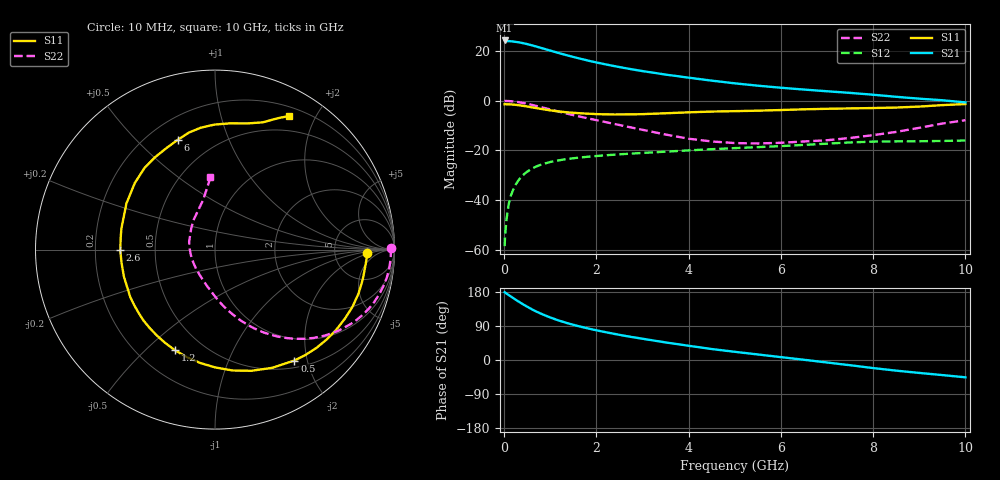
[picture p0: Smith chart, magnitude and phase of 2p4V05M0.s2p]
! (c) 2009  Infineon Technologies AG, Munich
! Infineon Technologies  Discrete & RF Semiconductors
! BFP420
! VCE =  4.0 V,  IC =  5.0 mA
! Common Emitter S-Parameters:  Nov 2009
# GHz  S  MA  R  50
!  f  S11  S21  S12  S22
! GHz  MAG  ANG  MAG  ANG  MAG  ANG  MAG  ANG
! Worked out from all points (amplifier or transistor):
!   46 points, 10 MHz to 10 GHz, reference 50 ohm
!   highest |S21| = 24.1 dB at 10 MHz (marker M1)
!   |S21| within 3 dB of that: start of sweep to 800.1 MHz
!   unconditionally stable (mu >= 1): start of sweep to 11.38 MHz; 3.028 GHz to end of sweep
!   at 300 MHz: K = 0.14, MSG = 27.8 dB, |S12| = -32.3 dB
!   at 1.7 GHz: K = 0.59, MSG = 19.7 dB, |S12| = -22.7 dB
!   at 10 GHz: K = 1.13, MAG = 5.5 dB, |S12| = -16.0 dB
!   lowest NFmin = 0.66 dB at 900 MHz
!   S11 on the Smith chart (normalised r, x): 10 MHz: 12, -1; 500 MHz: 0.61, -1.78; 1.2 GHz: 0.35, -0.62; 2.6 GHz: 0.31, -0.00; 6 GHz: 0.32, +0.67; 10 GHz: 0.31, +1.66
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0.01  0.8456 -1.2  16.07 179.0  0.0012 23.0  0.9779 0.4
0.02  0.848 -2.4  15.61 178.2  0.0019 59.3  0.9801 -1.2
0.1  0.8399 -11.3  15.6 171.4  0.0085 77.6  0.9766 -6.2
0.2  0.8297 -22.5  15.3 163.2  0.0166 75.3  0.9597 -12.4
0.3  0.8097 -33.6  14.84 155.2  0.0244 70.8  0.9336 -18.3
0.4  0.7868 -44.2  14.23 147.7  0.0313 66.3  0.8997 -23.8
0.5  0.7599 -54.4  13.55 140.6  0.0375 61.8  0.861 -28.9
0.6  0.7321 -64.1  12.84 133.9  0.043 57.7  0.8204 -33.6
0.8  0.6804 -81.8  11.37 122.2  0.0518 50.8  0.7383 -41.8
1  0.6364 -97.7  10.06 112.2  0.0585 45.3  0.6623 -48.6
1.2  0.6035 -111.7  8.897 103.6  0.0636 41.0  0.595 -54.4
1.4  0.5779 -124.2  7.918 96.2  0.0678 37.6  0.5374 -59.4
1.7  0.5522 -140.7  6.745 86.7  0.0729 33.7  0.4642 -65.9
2  0.5347 -154.6  5.816 78.4  0.0772 30.7  0.4051 -71.5
2.6  0.5279 -179.6  4.519 64.1  0.0846 26.0  0.309 -82.7
3.5  0.5562 152.6  3.324 46.4  0.0944 20.9  0.2081 -102.2
4.5  0.6015 130.6  2.512 29.0  0.1058 15.6  0.1512 -133.9
5.5  0.6268 115.7  1.989 14.6  0.1164 10.6  0.1379 -166.7
6  0.646 108.7  1.809 7.6  0.1221 8.2  0.1422 176.6
7  0.6839 96.6  1.537 -6.6  0.1367 2.2  0.1601 150.0
8.5  0.7246 75.9  1.19 -28.1  0.1518 -11.3  0.2351 114.0
10  0.8515 61.0  0.919 -45.7  0.158 -20.2  0.4045 93.6
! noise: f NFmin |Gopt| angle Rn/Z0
0.9  0.66  0.21  31  0.15
1.8  1.05  0.09  93  0.13
2.4  1.14  0.14  119  0.13
3  1.24  0.17  165  0.11
4  1.41  0.31  -145  0.12
5  1.85  0.38  -119  0.21
6  2.3  0.45  -101  0.36
